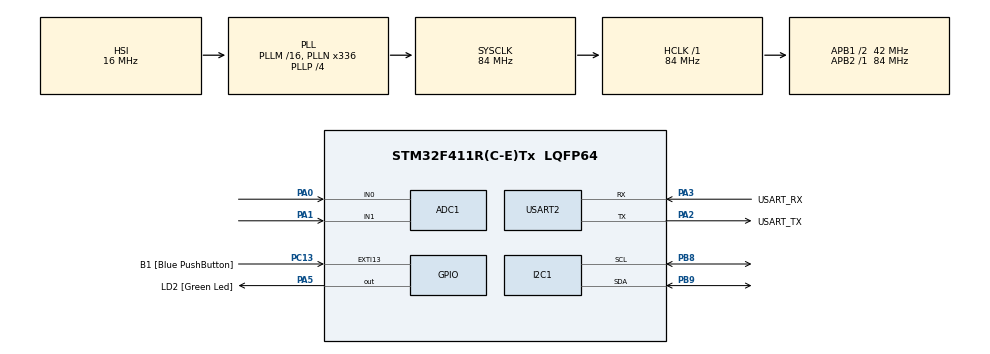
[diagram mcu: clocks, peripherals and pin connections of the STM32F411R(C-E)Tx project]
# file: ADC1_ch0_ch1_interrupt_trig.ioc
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ADC1.Channel-0\#ChannelRegularConversion=ADC_CHANNEL_0
ADC1.Channel-1\#ChannelRegularConversion=ADC_CHANNEL_1
ADC1.ClockPrescaler=ADC_CLOCK_SYNC_PCLK_DIV6
ADC1.ExternalTrigConv=ADC_EXTERNALTRIGCONV_T2_TRGO
ADC1.NbrOfConversion=2
ADC1.NbrOfConversionFlag=1
ADC1.Rank-0\#ChannelRegularConversion=1
ADC1.Rank-1\#ChannelRegularConversion=2
ADC1.SamplingTime-0\#ChannelRegularConversion=ADC_SAMPLETIME_28CYCLES
ADC1.SamplingTime-1\#ChannelRegularConversion=ADC_SAMPLETIME_28CYCLES
ADC1.ScanConvMode=ENABLE
ADC1.master=1
Mcu.Family=STM32F4
Mcu.Name=STM32F411R(C-E)Tx
Mcu.Package=LQFP64
NVIC.ADC_IRQn=true\:0\:0\:false\:false\:true\:true\:true\:true
NVIC.PriorityGroup=NVIC_PRIORITYGROUP_0
NVIC.TIM2_IRQn=true\:0\:0\:false\:false\:true\:true\:true\:true
PA0-WKUP.Signal=ADCx_IN0
PA1.Signal=ADCx_IN1
PA13.GPIO_Label=TMS
PA13.Mode=Serial_Wire
PA13.Signal=SYS_JTMS-SWDIO
PA14.GPIO_Label=TCK
PA14.Mode=Serial_Wire
PA14.Signal=SYS_JTCK-SWCLK
PA2.GPIO_Label=USART_TX
PA2.Mode=Asynchronous
PA2.Signal=USART2_TX
PA3.GPIO_Label=USART_RX
PA3.Mode=Asynchronous
PA3.Signal=USART2_RX
PA5.GPIO_Label=LD2 [Green Led]
PA5.Signal=GPIO_Output
PB3.GPIO_Label=SWO
PB3.Signal=SYS_JTDO-SWO
PB8.Mode=I2C
PB8.Signal=I2C1_SCL
PB9.Mode=I2C
PB9.Signal=I2C1_SDA
PC13-ANTI_TAMP.GPIO_Label=B1 [Blue PushButton]
PC13-ANTI_TAMP.GPIO_ModeDefaultEXTI=GPIO_MODE_IT_FALLING
PC13-ANTI_TAMP.Signal=GPXTI13
PC14-OSC32_IN.Signal=RCC_OSC32_IN
PC15-OSC32_OUT.Signal=RCC_OSC32_OUT
PH0\ -\ OSC_IN.Signal=RCC_OSC_IN
PH1\ -\ OSC_OUT.Signal=RCC_OSC_OUT
ProjectManager.HeapSize=0x200
ProjectManager.StackSize=0x400
ProjectManager.TargetToolchain=STM32CubeIDE
RCC.48MHZClocksFreq_Value=84000000
RCC.AHBFreq_Value=84000000
RCC.APB1CLKDivider=RCC_HCLK_DIV2
RCC.APB1Freq_Value=42000000
RCC.APB1TimFreq_Value=84000000
RCC.APB2Freq_Value=84000000
RCC.APB2TimFreq_Value=84000000
RCC.CortexFreq_Value=84000000
RCC.FLatency-AdvancedSettings=FLASH_LATENCY_2
RCC.HCLKFreq_Value=84000000
RCC.HSE_VALUE=8000000
RCC.HSI_VALUE=16000000
RCC.LSE_VALUE=32768
RCC.PLLN=336
RCC.PLLP=RCC_PLLP_DIV4
RCC.SYSCLKFreq_VALUE=84000000
RCC.SYSCLKSource=RCC_SYSCLKSOURCE_PLLCLK
RCC.VCOOutputFreq_Value=336000000
SH.ADCx_IN0.0=ADC1_IN0,IN0
SH.ADCx_IN1.0=ADC1_IN1,IN1
TIM2.Channel-Output\ Compare2\ No\ Output=TIM_CHANNEL_2
TIM2.Period=5000000-1
TIM2.Prescaler=84-1
TIM2.TIM_MasterOutputTrigger=TIM_TRGO_UPDATE
USART2.VirtualMode=VM_ASYNC
VP_TIM2_VS_no_output2.Mode=Output Compare2 No Output
board=NUCLEO-F411RE

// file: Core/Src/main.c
/* USER CODE BEGIN Header */
/**
  ******************************************************************************
  * @file           : main.c
  * @brief          : Main program body
  ******************************************************************************
  * @attention
  *
  * Copyright (c) 2025 STMicroelectronics.
  * All rights reserved.
  *
  * This software is licensed under terms that can be found in the LICENSE file
  * in the root directory of this software component.
  * If no LICENSE file comes with this software, it is provided AS-IS.
  *
  ******************************************************************************
  */
/* USER CODE END Header */
#include "main.h"

/* USER CODE BEGIN Includes */
#include <stdio.h>
#include "clcd.h"
/* USER CODE END Includes */

/* USER CODE BEGIN PD */
#ifdef __GNUC__
/* With GCC, small printf (option LD Linker->Libraries->Small printf
   set to 'Yes') calls __io_putchar() */
#define PUTCHAR_PROTOTYPE int __io_putchar(int ch)
#else
#define PUTCHAR_PROTOTYPE int fputc(int ch, FILE *f)
#endif /* __GNUC__ */
/* USER CODE END PD */

ADC_HandleTypeDef hadc1;

I2C_HandleTypeDef hi2c1;

TIM_HandleTypeDef htim2;

UART_HandleTypeDef huart2;

/* USER CODE BEGIN PV */
__IO uint16_t ADC1xConvertValue[2]={0};
__IO int adcFlag=0;
/* USER CODE END PV */

void SystemClock_Config(void);
static void MX_GPIO_Init(void);
static void MX_USART2_UART_Init(void);
static void MX_I2C1_Init(void);
static void MX_ADC1_Init(void);
static void MX_TIM2_Init(void);

int main(void)
{

  /* USER CODE BEGIN 1 */

	char lcd_buffer1[17];
	char lcd_buffer2[17];
  /* USER CODE END 1 */

  /* MCU Configuration--------------------------------------------------------*/

  /* Reset of all peripherals, Initializes the Flash interface and the Systick. */
  HAL_Init();

  /* Configure the system clock */
  SystemClock_Config();

  /* Initialize all configured peripherals */
  MX_GPIO_Init();
  MX_USART2_UART_Init();
  MX_I2C1_Init();
  MX_ADC1_Init();
  MX_TIM2_Init();
  /* USER CODE BEGIN 2 */
  LCD_init(&hi2c1);
  printf("main start\r\n");
  LCD_writeStringXY(0,0,"hello lcd");
  if(HAL_TIM_Base_Start(&htim2) != HAL_OK)
	  Error_Handler();
  if(HAL_ADC_Start_IT(&hadc1) != HAL_OK)
	  Error_Handler();
  /* USER CODE END 2 */

  /* Infinite loop */
  /* USER CODE BEGIN WHILE */
  while (1)
  {
#if 0
	  if(HAL_ADC_Start(&hadc1) != HAL_OK)
		  Error_Handler();
	  for(int i=0;i<2;i++)
	  {
		  HAL_ADC_PollForConversion(&hadc1,100);
		  if((HAL_ADC_GetState(&hadc1) & HAL_ADC_STATE_REG_EOC) == HAL_ADC_STATE_REG_EOC)
		  {
//			  printf("ADC ch%d = %lu\r\n",i,HAL_ADC_GetValue(&hadc1));
			  ADC1xConvertValue[i]=HAL_ADC_GetValue(&hadc1);
		  }
	  }
	  HAL_ADC_Stop(&hadc1);
#endif
	  if(adcFlag)
	  {
		  adcFlag=0;
		  sprintf(lcd_buffer1,"VAR : %4d     ", ADC1xConvertValue[0]);
		  sprintf(lcd_buffer2,"CDS : %4d     ", ADC1xConvertValue[1]);
		  LCD_writeStringXY(0,0,lcd_buffer1);
		  LCD_writeStringXY(1,0,lcd_buffer2);
		  printf("VAR=%4d VAR_V=%lf, CDS=%4d\r\n",ADC1xConvertValue[0],3.3/4096*ADC1xConvertValue[0],ADC1xConvertValue[1]);
//		  if(HAL_ADC_Start_IT(&hadc1) != HAL_OK)
//			  Error_Handler();
	  }

    /* USER CODE END WHILE */

  }
}

void SystemClock_Config(void)
{
  RCC_OscInitTypeDef RCC_OscInitStruct = {0};
  RCC_ClkInitTypeDef RCC_ClkInitStruct = {0};

  /** Configure the main internal regulator output voltage
  */
  __HAL_RCC_PWR_CLK_ENABLE();
  __HAL_PWR_VOLTAGESCALING_CONFIG(PWR_REGULATOR_VOLTAGE_SCALE1);

  /** Initializes the RCC Oscillators according to the specified parameters
  * in the RCC_OscInitTypeDef structure.
  */
  RCC_OscInitStruct.OscillatorType = RCC_OSCILLATORTYPE_HSI;
  RCC_OscInitStruct.HSIState = RCC_HSI_ON;
  RCC_OscInitStruct.HSICalibrationValue = RCC_HSICALIBRATION_DEFAULT;
  RCC_OscInitStruct.PLL.PLLState = RCC_PLL_ON;
  RCC_OscInitStruct.PLL.PLLSource = RCC_PLLSOURCE_HSI;
  RCC_OscInitStruct.PLL.PLLM = 16;
  RCC_OscInitStruct.PLL.PLLN = 336;
  RCC_OscInitStruct.PLL.PLLP = RCC_PLLP_DIV4;
  RCC_OscInitStruct.PLL.PLLQ = 4;
  if (HAL_RCC_OscConfig(&RCC_OscInitStruct) != HAL_OK)
  {
    Error_Handler();
  }

  /** Initializes the CPU, AHB and APB buses clocks
  */
  RCC_ClkInitStruct.ClockType = RCC_CLOCKTYPE_HCLK|RCC_CLOCKTYPE_SYSCLK
                              |RCC_CLOCKTYPE_PCLK1|RCC_CLOCKTYPE_PCLK2;
  RCC_ClkInitStruct.SYSCLKSource = RCC_SYSCLKSOURCE_PLLCLK;
  RCC_ClkInitStruct.AHBCLKDivider = RCC_SYSCLK_DIV1;
  RCC_ClkInitStruct.APB1CLKDivider = RCC_HCLK_DIV2;
  RCC_ClkInitStruct.APB2CLKDivider = RCC_HCLK_DIV1;

  if (HAL_RCC_ClockConfig(&RCC_ClkInitStruct, FLASH_LATENCY_2) != HAL_OK)
  {
    Error_Handler();
  }
}

static void MX_ADC1_Init(void)
{

  ADC_ChannelConfTypeDef sConfig = {0};

  /** Configure the global features of the ADC (Clock, Resolution, Data Alignment and number of conversion)
  */
  hadc1.Instance = ADC1;
  hadc1.Init.ClockPrescaler = ADC_CLOCK_SYNC_PCLK_DIV6;
  hadc1.Init.Resolution = ADC_RESOLUTION_12B;
  hadc1.Init.ScanConvMode = ENABLE;
  hadc1.Init.ContinuousConvMode = DISABLE;
  hadc1.Init.DiscontinuousConvMode = DISABLE;
  hadc1.Init.ExternalTrigConvEdge = ADC_EXTERNALTRIGCONVEDGE_RISING;
  hadc1.Init.ExternalTrigConv = ADC_EXTERNALTRIGCONV_T2_TRGO;
  hadc1.Init.DataAlign = ADC_DATAALIGN_RIGHT;
  hadc1.Init.NbrOfConversion = 2;
  hadc1.Init.DMAContinuousRequests = DISABLE;
  hadc1.Init.EOCSelection = ADC_EOC_SINGLE_CONV;
  if (HAL_ADC_Init(&hadc1) != HAL_OK)
  {
    Error_Handler();
  }

  /** Configure for the selected ADC regular channel its corresponding rank in the sequencer and its sample time.
  */
  sConfig.Channel = ADC_CHANNEL_0;
  sConfig.Rank = 1;
  sConfig.SamplingTime = ADC_SAMPLETIME_28CYCLES;
  if (HAL_ADC_ConfigChannel(&hadc1, &sConfig) != HAL_OK)
  {
    Error_Handler();
  }

  /** Configure for the selected ADC regular channel its corresponding rank in the sequencer and its sample time.
  */
  sConfig.Channel = ADC_CHANNEL_1;
  sConfig.Rank = 2;
  if (HAL_ADC_ConfigChannel(&hadc1, &sConfig) != HAL_OK)
  {
    Error_Handler();
  }

}

static void MX_I2C1_Init(void)
{

  hi2c1.Instance = I2C1;
  hi2c1.Init.ClockSpeed = 100000;
  hi2c1.Init.DutyCycle = I2C_DUTYCYCLE_2;
  hi2c1.Init.OwnAddress1 = 0;
  hi2c1.Init.AddressingMode = I2C_ADDRESSINGMODE_7BIT;
  hi2c1.Init.DualAddressMode = I2C_DUALADDRESS_DISABLE;
  hi2c1.Init.OwnAddress2 = 0;
  hi2c1.Init.GeneralCallMode = I2C_GENERALCALL_DISABLE;
  hi2c1.Init.NoStretchMode = I2C_NOSTRETCH_DISABLE;
  if (HAL_I2C_Init(&hi2c1) != HAL_OK)
  {
    Error_Handler();
  }

}

static void MX_TIM2_Init(void)
{

  TIM_MasterConfigTypeDef sMasterConfig = {0};
  TIM_OC_InitTypeDef sConfigOC = {0};

  htim2.Instance = TIM2;
  htim2.Init.Prescaler = 84-1;
  htim2.Init.CounterMode = TIM_COUNTERMODE_UP;
  htim2.Init.Period = 5000000-1;
  htim2.Init.ClockDivision = TIM_CLOCKDIVISION_DIV1;
  htim2.Init.AutoReloadPreload = TIM_AUTORELOAD_PRELOAD_DISABLE;
  if (HAL_TIM_OC_Init(&htim2) != HAL_OK)
  {
    Error_Handler();
  }
  sMasterConfig.MasterOutputTrigger = TIM_TRGO_UPDATE;
  sMasterConfig.MasterSlaveMode = TIM_MASTERSLAVEMODE_DISABLE;
  if (HAL_TIMEx_MasterConfigSynchronization(&htim2, &sMasterConfig) != HAL_OK)
  {
    Error_Handler();
  }
  sConfigOC.OCMode = TIM_OCMODE_TIMING;
  sConfigOC.Pulse = 0;
  sConfigOC.OCPolarity = TIM_OCPOLARITY_HIGH;
  sConfigOC.OCFastMode = TIM_OCFAST_DISABLE;
  if (HAL_TIM_OC_ConfigChannel(&htim2, &sConfigOC, TIM_CHANNEL_2) != HAL_OK)
  {
    Error_Handler();
  }

}

static void MX_USART2_UART_Init(void)
{

  huart2.Instance = USART2;
  huart2.Init.BaudRate = 115200;
  huart2.Init.WordLength = UART_WORDLENGTH_8B;
  huart2.Init.StopBits = UART_STOPBITS_1;
  huart2.Init.Parity = UART_PARITY_NONE;
  huart2.Init.Mode = UART_MODE_TX_RX;
  huart2.Init.HwFlowCtl = UART_HWCONTROL_NONE;
  huart2.Init.OverSampling = UART_OVERSAMPLING_16;
  if (HAL_UART_Init(&huart2) != HAL_OK)
  {
    Error_Handler();
  }

}

static void MX_GPIO_Init(void)
{
  GPIO_InitTypeDef GPIO_InitStruct = {0};

  /* GPIO Ports Clock Enable */
  __HAL_RCC_GPIOC_CLK_ENABLE();
  __HAL_RCC_GPIOH_CLK_ENABLE();
  __HAL_RCC_GPIOA_CLK_ENABLE();
  __HAL_RCC_GPIOB_CLK_ENABLE();

  /*Configure GPIO pin Output Level */
  HAL_GPIO_WritePin(LD2_GPIO_Port, LD2_Pin, GPIO_PIN_RESET);

  /*Configure GPIO pin : B1_Pin */
  GPIO_InitStruct.Pin = B1_Pin;
  GPIO_InitStruct.Mode = GPIO_MODE_IT_FALLING;
  GPIO_InitStruct.Pull = GPIO_NOPULL;
  HAL_GPIO_Init(B1_GPIO_Port, &GPIO_InitStruct);

  /*Configure GPIO pin : LD2_Pin */
  GPIO_InitStruct.Pin = LD2_Pin;
  GPIO_InitStruct.Mode = GPIO_MODE_OUTPUT_PP;
  GPIO_InitStruct.Pull = GPIO_NOPULL;
  GPIO_InitStruct.Speed = GPIO_SPEED_FREQ_LOW;
  HAL_GPIO_Init(LD2_GPIO_Port, &GPIO_InitStruct);

}

/* USER CODE BEGIN 4 */
PUTCHAR_PROTOTYPE
{
  /* Place your implementation of fputc here */
  /* e.g. write a character to the USART6 and Loop until the end of transmission */
  HAL_UART_Transmit(&huart2, (uint8_t *)&ch, 1, 0xFFFF);

  return ch;
}
void HAL_ADC_ConvCpltCallback(ADC_HandleTypeDef* hadc)
{
   static int channel = 0;
   if(channel == 0)
   {
      ADC1xConvertValue[channel] = HAL_ADC_GetValue(hadc);
      channel = 1;
   }
   else if(channel == 1)
   {
      ADC1xConvertValue[channel] = HAL_ADC_GetValue(hadc);
      channel = 0;
      adcFlag = 1;
   }
}
/* USER CODE END 4 */

void Error_Handler(void)
{
  __disable_irq();
  while (1)
  {
  }
}
